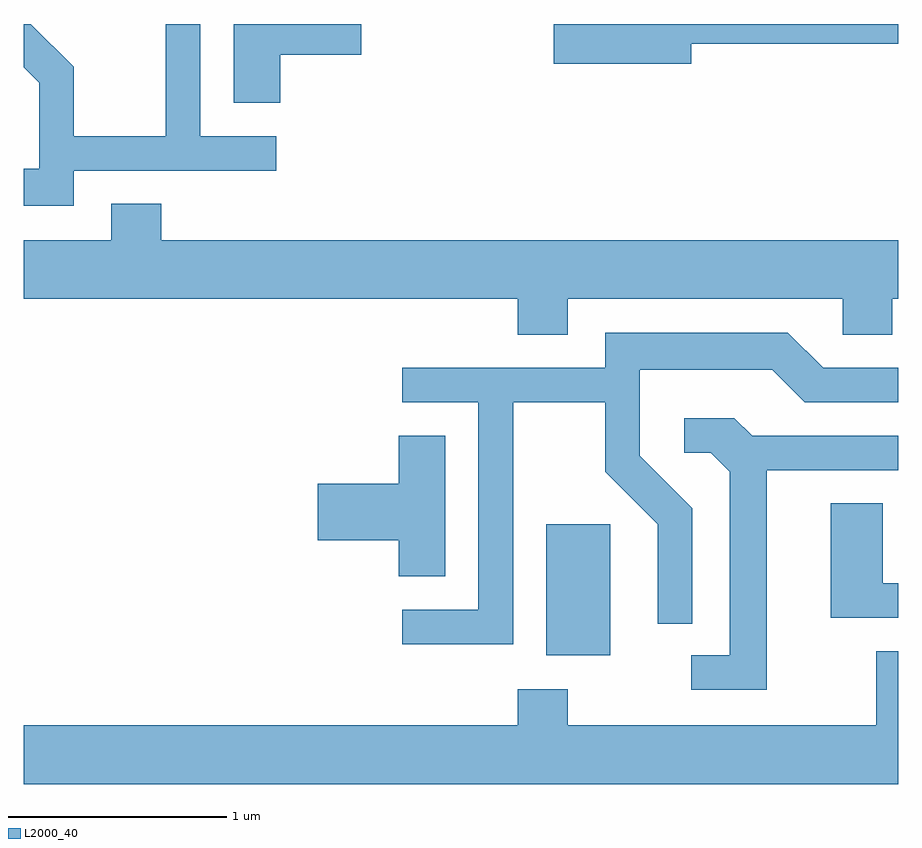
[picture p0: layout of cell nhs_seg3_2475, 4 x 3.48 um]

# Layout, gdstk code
import gdstk
lib = gdstk.Library(unit=1e-6, precision=1e-09)
def R(c, l, rs):  # rectangles x0, y0, x1, y1
    for r in rs: c.add(gdstk.rectangle(r[:2], r[2:], *l))
def P(c, l, *ps):  # polygons
    for p in ps: c.add(gdstk.Polygon(p, *l))
L2000_40 = (2000, 40)

nhs_seg3_2475 = lib.new_cell('nhs_seg3_2475')
R(nhs_seg3_2475, L2000_40, [(260.001,1171.006,260.294,1171.604)])
P(nhs_seg3_2475, L2000_40, [(260.664,1173.801),(261.611,1173.801),(261.611,1173.892),(260.036,1173.892),(260.036,1173.711),(260.664,1173.711)],
  [(258.784,1173.751),(259.154,1173.751),(259.154,1173.892),(258.571,1173.892),(258.571,1173.531),(258.784,1173.531)],
  [(257.839,1173.221),(258.767,1173.221),(258.767,1173.379),(258.419,1173.379),(258.419,1173.892),(258.261,1173.892),(258.261,1173.379),(257.839,1173.379),(257.839,1173.697),(257.644,1173.892),(257.611,1173.892),(257.611,1173.694),(257.681,1173.624),(257.681,1173.229),(257.611,1173.229),(257.611,1173.061),(257.839,1173.061)],
  [(260.099,1172.636),(261.356,1172.636),(261.356,1172.471),(261.584,1172.471),(261.584,1172.636),(261.611,1172.636),(261.611,1172.904),(258.239,1172.904),(258.239,1173.069),(258.011,1173.069),(258.011,1172.904),(257.611,1172.904),(257.611,1172.636),(259.871,1172.636),(259.871,1172.471),(260.099,1172.471)],
  [(259.849,1172.161),(260.271,1172.161),(260.271,1171.844),(260.511,1171.604),(260.511,1171.148),(260.669,1171.148),(260.669,1171.677),(260.429,1171.917),(260.429,1172.311),(261.034,1172.311),(261.183,1172.161),(261.611,1172.161),(261.611,1172.319),(261.267,1172.319),(261.106,1172.479),(260.271,1172.479),(260.271,1172.319),(259.343,1172.319),(259.343,1172.161),(259.691,1172.161),(259.691,1171.214),(259.343,1171.214),(259.343,1171.056),(259.849,1171.056)],
  [(261.009,1171.851),(261.611,1171.851),(261.611,1172.009),(260.942,1172.009),(260.861,1172.089),(260.633,1172.089),(260.633,1171.931),(260.754,1171.931),(260.841,1171.844),(260.841,1171.004),(260.663,1171.004),(260.663,1170.846),(261.009,1170.846)],
  [(259.539,1172.009),(259.326,1172.009),(259.326,1171.789),(258.956,1171.789),(258.956,1171.531),(259.326,1171.531),(259.326,1171.366),(259.539,1171.366)],
  [(261.611,1171.334),(261.539,1171.334),(261.539,1171.699),(261.301,1171.699),(261.301,1171.176),(261.611,1171.176)],
  [(261.611,1171.024),(261.511,1171.024),(261.511,1170.684),(260.099,1170.684),(260.099,1170.849),(259.871,1170.849),(259.871,1170.684),(257.611,1170.684),(257.611,1170.416),(261.611,1170.416)])

lib.write_gds('nhs_seg3_2475.gds')
